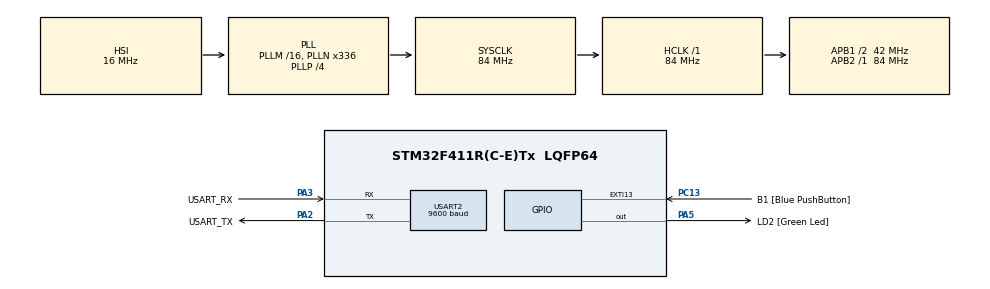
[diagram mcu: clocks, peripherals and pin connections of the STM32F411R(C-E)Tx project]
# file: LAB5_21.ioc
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Mcu.Family=STM32F4
Mcu.Name=STM32F411R(C-E)Tx
Mcu.Package=LQFP64
NVIC.PriorityGroup=NVIC_PRIORITYGROUP_0
NVIC.USART2_IRQn=true\:0\:0\:false\:false\:true\:true\:true\:true
PA13.GPIO_Label=TMS
PA13.Mode=Serial_Wire
PA13.Signal=SYS_JTMS-SWDIO
PA14.GPIO_Label=TCK
PA14.Mode=Serial_Wire
PA14.Signal=SYS_JTCK-SWCLK
PA2.GPIO_Label=USART_TX
PA2.Mode=Asynchronous
PA2.Signal=USART2_TX
PA3.GPIO_Label=USART_RX
PA3.Mode=Asynchronous
PA3.Signal=USART2_RX
PA5.GPIO_Label=LD2 [Green Led]
PA5.Signal=GPIO_Output
PB3.GPIO_Label=SWO
PB3.Signal=SYS_JTDO-SWO
PC13-ANTI_TAMP.GPIO_Label=B1 [Blue PushButton]
PC13-ANTI_TAMP.GPIO_ModeDefaultEXTI=GPIO_MODE_IT_FALLING
PC13-ANTI_TAMP.Signal=GPXTI13
PC14-OSC32_IN.Mode=LSE-External-Oscillator
PC14-OSC32_IN.Signal=RCC_OSC32_IN
PC15-OSC32_OUT.Mode=LSE-External-Oscillator
PC15-OSC32_OUT.Signal=RCC_OSC32_OUT
PH0\ -\ OSC_IN.Mode=HSE-External-Clock-Source
PH0\ -\ OSC_IN.Signal=RCC_OSC_IN
PH1\ -\ OSC_OUT.Mode=HSE-External-Clock-Source
PH1\ -\ OSC_OUT.Signal=RCC_OSC_OUT
ProjectManager.HeapSize=0x200
ProjectManager.StackSize=0x400
ProjectManager.TargetToolchain=STM32CubeIDE
RCC.48MHZClocksFreq_Value=84000000
RCC.AHBFreq_Value=84000000
RCC.APB1CLKDivider=RCC_HCLK_DIV2
RCC.APB1Freq_Value=42000000
RCC.APB1TimFreq_Value=84000000
RCC.APB2Freq_Value=84000000
RCC.APB2TimFreq_Value=84000000
RCC.CortexFreq_Value=84000000
RCC.FLatency-AdvancedSettings=FLASH_LATENCY_2
RCC.HCLKFreq_Value=84000000
RCC.HSE_VALUE=8000000
RCC.HSI_VALUE=16000000
RCC.PLLN=336
RCC.PLLP=RCC_PLLP_DIV4
RCC.SYSCLKFreq_VALUE=84000000
RCC.SYSCLKSource=RCC_SYSCLKSOURCE_PLLCLK
RCC.VCOOutputFreq_Value=336000000
USART2.BaudRate=9600
USART2.VirtualMode=VM_ASYNC
board=NUCLEO-F411RE

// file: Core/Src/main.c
/* USER CODE BEGIN Header */
/**
  ******************************************************************************
  * @file           : main.c
  * @brief          : Main program body
  ******************************************************************************
  * @attention
  *
  * Copyright (c) 2023 STMicroelectronics.
  * All rights reserved.
  *
  * This software is licensed under terms that can be found in the LICENSE file
  * in the root directory of this software component.
  * If no LICENSE file comes with this software, it is provided AS-IS.
  *
  ******************************************************************************
  */
/* USER CODE END Header */
#include "main.h"

/* USER CODE BEGIN Includes */
#include "stdio.h"
#include "string.h"
/* USER CODE END Includes */

UART_HandleTypeDef huart2;

/* USER CODE BEGIN PV */

struct _GPIOState
{
	GPIO_PinState Current;
	GPIO_PinState Last;
}BUTTON;

int ButtonCheck;
int state = 2;
int BlinkDuration = 100;
int Frequency = 5;
int LED = 0;
uint8_t RxBuffer[2];
uint8_t TxBuffer[1000];
uint8_t TextBuffer[1000];

/* USER CODE END PV */

void SystemClock_Config(void);
static void MX_GPIO_Init(void);
static void MX_USART2_UART_Init(void);
/* USER CODE BEGIN PFP */
//void UARTPollingMethod();
void ReadBUTTON();
void ClickButton();
void BlinkLED();
void UARTDMAConfig();
/* USER CODE END PFP */

int main(void)
{

  /* MCU Configuration--------------------------------------------------------*/

  /* Reset of all peripherals, Initializes the Flash interface and the Systick. */
HAL_Init();

  /* Configure the system clock */
  SystemClock_Config();

  /* Initialize all configured peripherals */
  MX_GPIO_Init();
  MX_USART2_UART_Init();
  /* USER CODE BEGIN 2 */
  UARTInterruptConfig();
  /* USER CODE END 2 */

  /* Infinite loop */
  /* USER CODE BEGIN WHILE */
  while (1)
  {
	  ReadBUTTON();
	  if(LED == 1)
	  {
		  BlinkLED();
	  }

    /* USER CODE END WHILE */

  }
}

void SystemClock_Config(void)
{
  RCC_OscInitTypeDef RCC_OscInitStruct = {0};
  RCC_ClkInitTypeDef RCC_ClkInitStruct = {0};

  /** Configure the main internal regulator output voltage
  */
  __HAL_RCC_PWR_CLK_ENABLE();
  __HAL_PWR_VOLTAGESCALING_CONFIG(PWR_REGULATOR_VOLTAGE_SCALE1);

  /** Initializes the RCC Oscillators according to the specified parameters
  * in the RCC_OscInitTypeDef structure.
  */
  RCC_OscInitStruct.OscillatorType = RCC_OSCILLATORTYPE_HSI;
  RCC_OscInitStruct.HSIState = RCC_HSI_ON;
  RCC_OscInitStruct.HSICalibrationValue = RCC_HSICALIBRATION_DEFAULT;
  RCC_OscInitStruct.PLL.PLLState = RCC_PLL_ON;
  RCC_OscInitStruct.PLL.PLLSource = RCC_PLLSOURCE_HSI;
  RCC_OscInitStruct.PLL.PLLM = 16;
  RCC_OscInitStruct.PLL.PLLN = 336;
  RCC_OscInitStruct.PLL.PLLP = RCC_PLLP_DIV4;
  RCC_OscInitStruct.PLL.PLLQ = 4;
  if (HAL_RCC_OscConfig(&RCC_OscInitStruct) != HAL_OK)
  {
    Error_Handler();
  }

  /** Initializes the CPU, AHB and APB buses clocks
  */
  RCC_ClkInitStruct.ClockType = RCC_CLOCKTYPE_HCLK|RCC_CLOCKTYPE_SYSCLK
                              |RCC_CLOCKTYPE_PCLK1|RCC_CLOCKTYPE_PCLK2;
  RCC_ClkInitStruct.SYSCLKSource = RCC_SYSCLKSOURCE_PLLCLK;
  RCC_ClkInitStruct.AHBCLKDivider = RCC_SYSCLK_DIV1;
  RCC_ClkInitStruct.APB1CLKDivider = RCC_HCLK_DIV2;
  RCC_ClkInitStruct.APB2CLKDivider = RCC_HCLK_DIV1;

  if (HAL_RCC_ClockConfig(&RCC_ClkInitStruct, FLASH_LATENCY_2) != HAL_OK)
  {
    Error_Handler();
  }
}

static void MX_USART2_UART_Init(void)
{

  huart2.Instance = USART2;
  huart2.Init.BaudRate = 9600;
  huart2.Init.WordLength = UART_WORDLENGTH_8B;
  huart2.Init.StopBits = UART_STOPBITS_1;
  huart2.Init.Parity = UART_PARITY_NONE;
  huart2.Init.Mode = UART_MODE_TX_RX;
  huart2.Init.HwFlowCtl = UART_HWCONTROL_NONE;
  huart2.Init.OverSampling = UART_OVERSAMPLING_16;
  if (HAL_UART_Init(&huart2) != HAL_OK)
  {
    Error_Handler();
  }

}

static void MX_GPIO_Init(void)
{
  GPIO_InitTypeDef GPIO_InitStruct = {0};

  /* GPIO Ports Clock Enable */
  __HAL_RCC_GPIOC_CLK_ENABLE();
  __HAL_RCC_GPIOH_CLK_ENABLE();
  __HAL_RCC_GPIOA_CLK_ENABLE();
  __HAL_RCC_GPIOB_CLK_ENABLE();

  /*Configure GPIO pin Output Level */
  HAL_GPIO_WritePin(LD2_GPIO_Port, LD2_Pin, GPIO_PIN_RESET);

  /*Configure GPIO pin : B1_Pin */
  GPIO_InitStruct.Pin = B1_Pin;
  GPIO_InitStruct.Mode = GPIO_MODE_IT_FALLING;
  GPIO_InitStruct.Pull = GPIO_NOPULL;
  HAL_GPIO_Init(B1_GPIO_Port, &GPIO_InitStruct);

  /*Configure GPIO pin : LD2_Pin */
  GPIO_InitStruct.Pin = LD2_Pin;
  GPIO_InitStruct.Mode = GPIO_MODE_OUTPUT_PP;
  GPIO_InitStruct.Pull = GPIO_NOPULL;
  GPIO_InitStruct.Speed = GPIO_SPEED_FREQ_LOW;
  HAL_GPIO_Init(LD2_GPIO_Port, &GPIO_InitStruct);

}

/* USER CODE BEGIN 4 */

void BlinkLED()
{
	static uint32_t timestamp = 0;
	if (HAL_GetTick() >= timestamp) {
		timestamp = HAL_GetTick() + BlinkDuration;
		HAL_GPIO_TogglePin(LD2_GPIO_Port, LD2_Pin);
	}
}

void ReadBUTTON()
{
	BUTTON.Current = HAL_GPIO_ReadPin(GPIOC, GPIO_PIN_13);
	if (BUTTON.Current == GPIO_PIN_RESET && BUTTON.Last == GPIO_PIN_SET )
	{
		switch(state)
		{
		case 0:
			state = 1;
			sprintf((char*)TextBuffer, "\r\n======================\r\n  MODE : Button Status\r\n======================\r\n  Press x : Back\r\n  Button 1 : Pressed \r\n  LED MODE : %d\r\n======================\r\n\0",LED);
			HAL_UART_Transmit_IT(&huart2,TextBuffer, strlen((char*)TextBuffer));
			break;
		case 1:
			state = 0;
			sprintf((char*)TextBuffer, "\r\n======================\r\n  MODE :  LED Control\r\n======================\r\n  Current Frequency : %d\r\n  Press a : Speed Up   +1 Hz\r\n  Press s : Speed Down -1 Hz\r\n  Press d : On/Off\r\n  Press x : Back\r\n======================\r\n\0",Frequency);
			HAL_UART_Transmit_IT(&huart2,TextBuffer, strlen((char*)TextBuffer));
			break;
		case 2:
			state = 0;
			sprintf((char*)TextBuffer, "\r\n======================\r\n  MODE :  LED Control\r\n======================\r\n  Current Frequency : %d\r\n  Press a : Speed Up   +1 Hz\r\n  Press s : Speed Down -1 Hz\r\n  Press d : On/Off\r\n  Press x : Back\r\n======================\r\n\0",Frequency);
			HAL_UART_Transmit_IT(&huart2,TextBuffer, strlen((char*)TextBuffer));
			break;
		}
	}
	BUTTON.Last = BUTTON.Current;
}

void UARTInterruptConfig()
{
	HAL_UART_Receive_IT(&huart2, RxBuffer, 1);
}

void HAL_UART_RxCpltCallback(UART_HandleTypeDef *huart)
{
	if (huart == &huart2)
	{
		RxBuffer[1] = '\0';
//		sprintf((char*)TxBuffer, "Received : %s\r\n\0", RxBuffer);
//		HAL_UART_Transmit_IT(&huart2, TxBuffer , strlen((char*)TxBuffer));

		HAL_UART_Receive_IT(&huart2, RxBuffer, 1);
	}

	if (state == 0)
	{
		switch(RxBuffer[0])
		{
			case 'a':
				Frequency += 1 ;
				BlinkDuration = 1000 / (Frequency *2);
				sprintf((char*)TxBuffer, "\r\nFrequency %d\0",Frequency);
				HAL_UART_Transmit_IT(&huart2, TxBuffer , strlen((char*)TxBuffer));
				RxBuffer[0] = ' ';
				break;
			case 's':
				Frequency -= 1 ;
				if (Frequency <= 1)
				{
					Frequency = 1;
				}
				BlinkDuration = 1000 / (Frequency *2);
				sprintf((char*)TxBuffer, "\r\nFrequency %d\0",Frequency);
				HAL_UART_Transmit_IT(&huart2, TxBuffer , strlen((char*)TxBuffer));
				RxBuffer[0] = ' ';
				break;
			case 'd':
				if (LED == 0)
				{
					LED = 1;
				    sprintf((char*)TxBuffer, "\r\nLED On     \0");
				    HAL_UART_Transmit_IT(&huart2, TxBuffer , strlen((char*)TxBuffer));
				}
				else if(LED == 1)
				{
					LED = 0;
				    sprintf((char*)TxBuffer, "\r\nLED off     \0");
				    HAL_UART_Transmit_IT(&huart2, TxBuffer , strlen((char*)TxBuffer));
				}
				break;
			case 'x':
				sprintf((char*)TxBuffer, "\r\nPress_button   \0");
				HAL_UART_Transmit_IT(&huart2, TxBuffer, strlen((char*)TxBuffer));
				state = 2;
			break;
			default :
				sprintf((char*)TxBuffer, "\r\nPress_button   \0",Frequency);
				HAL_UART_Transmit_IT(&huart2, TxBuffer , strlen((char*)TxBuffer));
			break;
	}
	}
	else if(state = 1)
	{
		switch (RxBuffer[0])
		{
			case 'x':
			sprintf((char*)TxBuffer, "\r\nPress_button\0");
			HAL_UART_Transmit_IT(&huart2, TxBuffer, strlen((char*)TxBuffer));
			state = 2;
			break;

			default :
				sprintf((char*)TxBuffer, "\r\nPress_button\0",Frequency);
				HAL_UART_Transmit_IT(&huart2, TxBuffer , strlen((char*)TxBuffer));
			break;
		}
	}
}

/* USER CODE END 4 */

void Error_Handler(void)
{
  __disable_irq();
  while (1)
  {
  }
}
